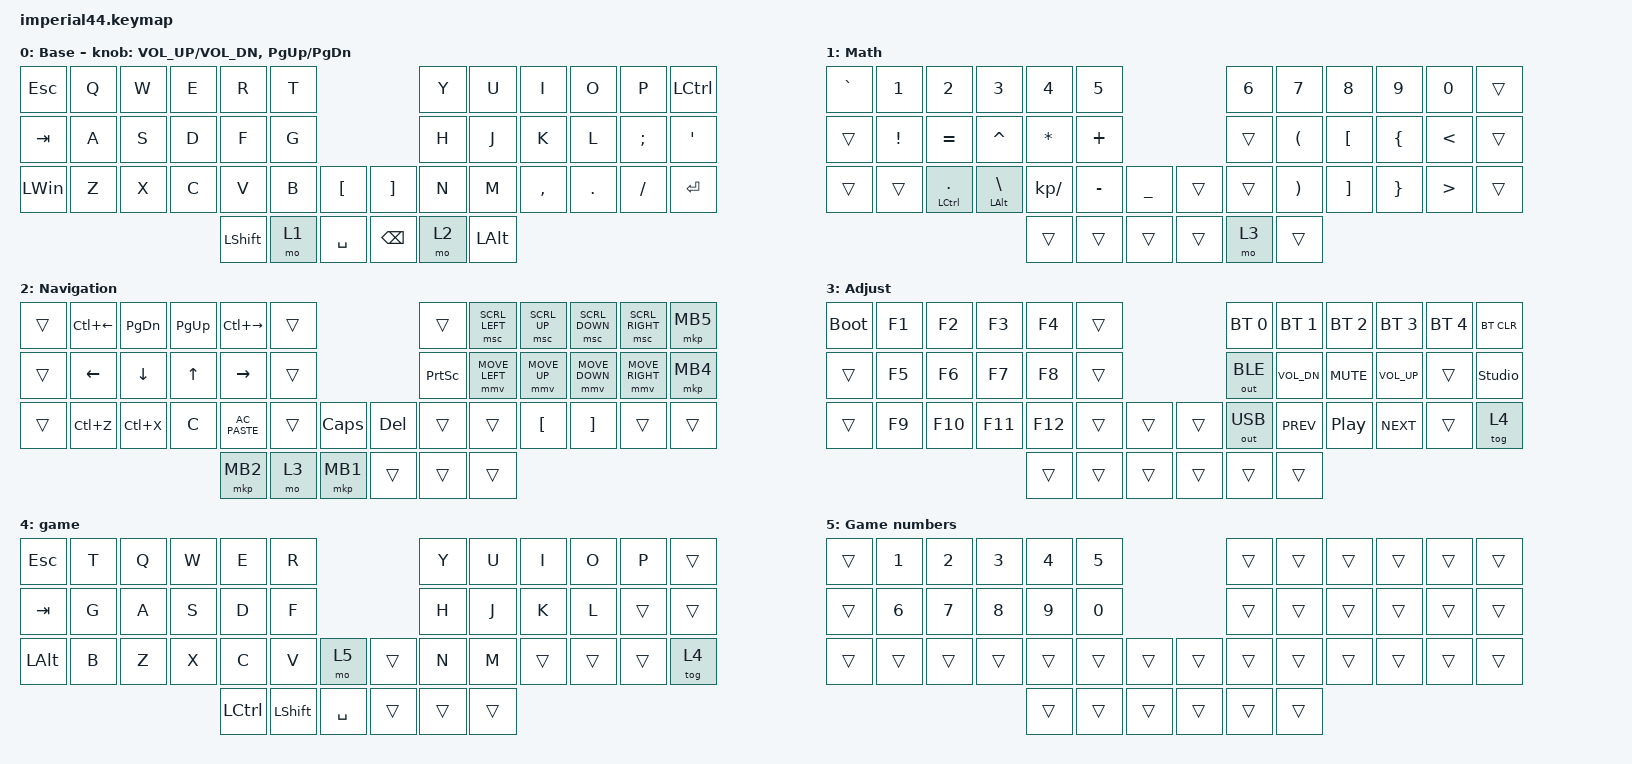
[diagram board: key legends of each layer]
#include "keys_ru.h"
#include <behaviors.dtsi>
#include <dt-bindings/zmk/bt.h>
#include <dt-bindings/zmk/keys.h>
#include <dt-bindings/zmk/outputs.h>
#include <dt-bindings/zmk/pointing.h>

/ {
    keymap {
        compatible = "zmk,keymap";

        base {
            bindings = <
&kp ESC       &kp Q  &kp W  &kp E  &kp R           &kp T                              &kp Y  &kp U     &kp I      &kp O    &kp P     &kp LEFT_CONTROL
&kp TAB       &kp A  &kp S  &kp D  &kp F           &kp G                              &kp H  &kp J     &kp K      &kp L    &kp SEMI  &kp SQT
&kp LEFT_WIN  &kp Z  &kp X  &kp C  &kp V           &kp B  &kp LBKT     &kp RBKT       &kp N  &kp M     &kp COMMA  &kp DOT  &kp FSLH  &kp ENTER
                                   &kp LEFT_SHIFT  &mo 1  &kp SPACE    &kp BACKSPACE  &mo 2  &kp LALT
            >;

            display-name = "Base";
            sensor-bindings =
                <&inc_dec_kp C_VOL_UP C_VOL_DN>,
                <&inc_dec_kp PG_UP PG_DN>;
        };

        math {
            bindings = <
&kp GRAVE  &kp N1    &kp N2                &kp N3                  &kp N4        &kp N5                          &kp N6  &kp N7                 &kp N8             &kp N9           &kp N0            &trans
&trans     &kp EXCL  &kp EQUAL             &kp CARET               &kp STAR      &kp PLUS                        &trans  &kp LEFT_PARENTHESIS   &kp LEFT_BRACKET   &kp LEFT_BRACE   &kp LESS_THAN     &trans
&trans     &trans    &mt LEFT_CONTROL DOT  &mt LEFT_ALT BACKSLASH  &kp KP_SLASH  &kp MINUS  &kp UNDER    &trans  &trans  &kp RIGHT_PARENTHESIS  &kp RIGHT_BRACKET  &kp RIGHT_BRACE  &kp GREATER_THAN  &trans
                                                                   &trans        &trans     &trans       &trans  &mo 3   &trans
            >;

            display-name = "Math";
        };

        nav {
            bindings = <
&trans  &kp LC(LEFT_ARROW)  &kp PAGE_DOWN  &kp PAGE_UP  &kp LC(RIGHT_ARROW)  &trans                          &trans           &msc SCRL_LEFT  &msc SCRL_UP      &msc SCRL_DOWN     &msc SCRL_RIGHT  &mkp MB5
&trans  &kp LEFT_ARROW      &kp DOWN       &kp UP       &kp RIGHT_ARROW      &trans                          &kp PRINTSCREEN  &mmv MOVE_LEFT  &mmv MOVE_UP      &mmv MOVE_DOWN     &mmv MOVE_RIGHT  &mkp MB4
&trans  &kp LC(Z)           &kp LC(X)      &kp C        &kp C_AC_PASTE       &trans  &kp CAPS    &kp DELETE  &trans           &trans          &kp LEFT_BRACKET  &kp RIGHT_BRACKET  &trans           &trans
                                                        &mkp MB2             &mo 3   &mkp MB1    &trans      &trans           &trans
            >;

            display-name = "Navigation";
        };

        adj {
            bindings = <
&bootloader  &kp F1  &kp F2   &kp F3   &kp F4   &trans                    &bt BT_SEL 0  &bt BT_SEL 1  &bt BT_SEL 2      &bt BT_SEL 3  &bt BT_SEL 4  &bt BT_CLR
&trans       &kp F5  &kp F6   &kp F7   &kp F8   &trans                    &out OUT_BLE  &kp C_VOL_DN  &kp C_MUTE        &kp C_VOL_UP  &trans        &studio_unlock
&trans       &kp F9  &kp F10  &kp F11  &kp F12  &trans  &trans    &trans  &out OUT_USB  &kp C_PREV    &kp C_PLAY_PAUSE  &kp C_NEXT    &trans        &tog 4
                                       &trans   &trans  &trans    &trans  &trans        &trans
            >;

            display-name = "Adjust";
        };

        game {
            bindings = <
&kp ESC   &kp T  &kp Q  &kp W  &kp E      &kp R                           &kp Y   &kp U   &kp I   &kp O   &kp P   &trans
&kp TAB   &kp G  &kp A  &kp S  &kp D      &kp F                           &kp H   &kp J   &kp K   &kp L   &trans  &trans
&kp LALT  &kp B  &kp Z  &kp X  &kp C      &kp V      &mo 5        &trans  &kp N   &kp M   &trans  &trans  &trans  &tog 4
                               &kp LCTRL  &kp LSHFT  &kp SPACE    &trans  &trans  &trans
            >;
        };

        game_num {
            display-name = "Game numbers";
            bindings = <
&trans  &kp N1  &kp N2  &kp N3  &kp N4  &kp N5                    &trans  &trans  &trans  &trans  &trans  &trans
&trans  &kp N6  &kp N7  &kp N8  &kp N9  &kp N0                    &trans  &trans  &trans  &trans  &trans  &trans
&trans  &trans  &trans  &trans  &trans  &trans  &trans    &trans  &trans  &trans  &trans  &trans  &trans  &trans
                                &trans  &trans  &trans    &trans  &trans  &trans
            >;
        };
    };
};
